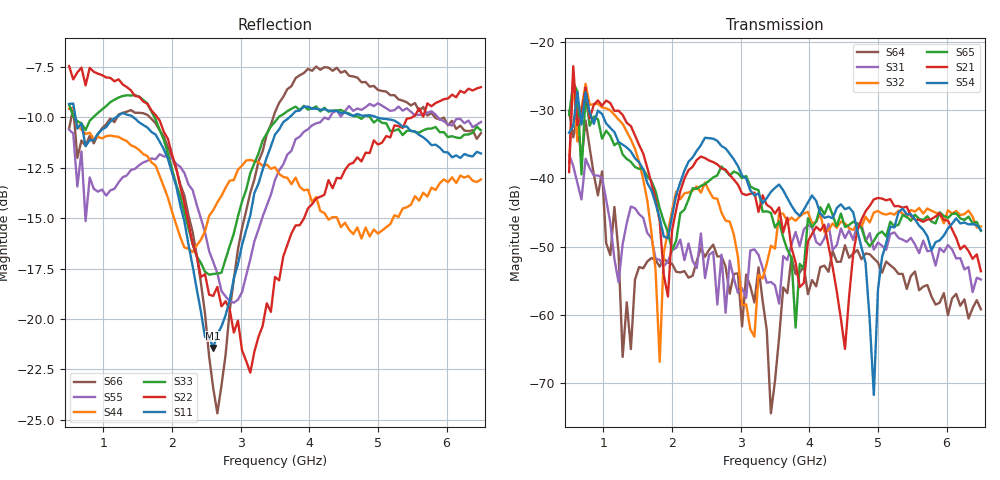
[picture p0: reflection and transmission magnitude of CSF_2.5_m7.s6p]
!Keysight Technologies,M9804A,MY58100912,A.14.10.03
!Date: Thursday, April 27, 2023 10:28:33
!Correction: S11(C  6-Port  )
!S12(C  6-Port  )
!S13(C  6-Port  )
!S14(C  6-Port  )
!S15(C  6-Port  )
!S16(C  6-Port  )
!S21(C  6-Port  )
!S22(C  6-Port  )
!S23(C  6-Port  )
!S24(C  6-Port  )
!S25(C  6-Port  )
!S26(C  6-Port  )
!S31(C  6-Port  )
!S32(C  6-Port  )
!S33(C  6-Port  )
!S34(C  6-Port  )
!S35(C  6-Port  )
!S36(C  6-Port  )
!S41(C  6-Port  )
!S42(C  6-Port  )
!S43(C  6-Port  )
!S44(C  6-Port  )
!S45(C  6-Port  )
!S46(C  6-Port  )
!S51(C  6-Port  )
!S52(C  6-Port  )
!S53(C  6-Port  )
!S54(C  6-Port  )
!S55(C  6-Port  )
!S56(C  6-Port  )
!S61(C  6-Port  )
!S62(C  6-Port  )
!S63(C  6-Port  )
!S64(C  6-Port  )
!S65(C  6-Port  )
!S66(C  6-Port  )
!S6P File: Measurement: :
# Hz S  RI  R 50
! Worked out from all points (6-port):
!   101 points, 500 MHz to 6.5 GHz, reference 50 ohm
!   strongest paths, dB at 500 MHz, 2 GHz, 3.5 GHz, 5 GHz, 6.5 GHz:
!     S54: -33.3, -45.6, -41.4, -56.4, -47.6
!     S21: -39.1, -47.6, -45.2, -42.9, -53.6
!     S65: -30.7, -50.6, -47.2, -48.1, -47.7
!     S32: -37.7, -44.7, -50.3, -44.8, -47.1
!     S31: -36.5, -50.6, -55.7, -49.4, -54.9
!     S64: -30.1, -52.5, -69.7, -52.3, -59.2
!   lowest |S11| = -21.4 dB at 2.6 GHz (marker M1), VSWR 1.19, Z = 42.5 + j2.16 ohm
!   |S11| at or under -10 dB: 592.4 MHz to 1.189 GHz (596.3 MHz wide, 67 % of centre); 1.432 GHz to 3.714 GHz (2.282 GHz wide, 88.7 % of centre); 4.973 GHz to end of sweep
